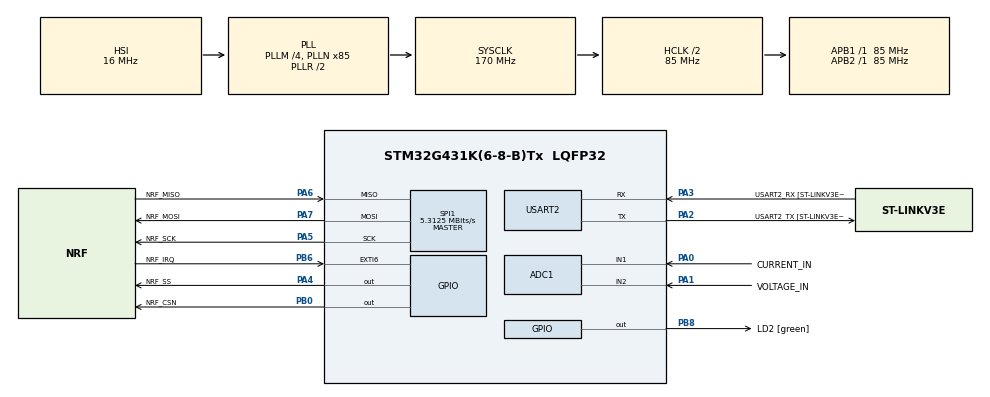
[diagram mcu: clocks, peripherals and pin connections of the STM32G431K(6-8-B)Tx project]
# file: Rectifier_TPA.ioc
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ADC1.Channel-1\#ChannelRegularConversion=ADC_CHANNEL_1
ADC1.Channel-3\#ChannelRegularConversion=ADC_CHANNEL_2
ADC1.ClockPrescaler=ADC_CLOCK_ASYNC_DIV16
ADC1.ContinuousConvMode=ENABLE
ADC1.DMAContinuousRequests=ENABLE
ADC1.NbrOfConversion=2
ADC1.NbrOfConversionFlag=1
ADC1.OffsetNumber-1\#ChannelRegularConversion=ADC_OFFSET_NONE
ADC1.OffsetNumber-3\#ChannelRegularConversion=ADC_OFFSET_NONE
ADC1.Overrun=ADC_OVR_DATA_PRESERVED
ADC1.Rank-1\#ChannelRegularConversion=1
ADC1.Rank-3\#ChannelRegularConversion=2
ADC1.SamplingTime-1\#ChannelRegularConversion=ADC_SAMPLETIME_47CYCLES_5
ADC1.SamplingTime-3\#ChannelRegularConversion=ADC_SAMPLETIME_47CYCLES_5
ADC1.master=1
Dma.ADC1.0.Direction=DMA_PERIPH_TO_MEMORY
Dma.ADC1.0.EventEnable=DISABLE
Dma.ADC1.0.Instance=DMA1_Channel1
Dma.ADC1.0.MemDataAlignment=DMA_MDATAALIGN_WORD
Dma.ADC1.0.MemInc=DMA_MINC_ENABLE
Dma.ADC1.0.Mode=DMA_CIRCULAR
Dma.ADC1.0.PeriphDataAlignment=DMA_PDATAALIGN_WORD
Dma.ADC1.0.PeriphInc=DMA_PINC_DISABLE
Dma.ADC1.0.Polarity=HAL_DMAMUX_REQ_GEN_RISING
Dma.ADC1.0.Priority=DMA_PRIORITY_LOW
Dma.ADC1.0.RequestNumber=1
Dma.ADC1.0.SignalID=NONE
Dma.ADC1.0.SyncEnable=DISABLE
Dma.ADC1.0.SyncPolarity=HAL_DMAMUX_SYNC_NO_EVENT
Dma.ADC1.0.SyncRequestNumber=1
Dma.ADC1.0.SyncSignalID=NONE
Dma.Request0=ADC1
LPTIM1.ClockPrescaler=LPTIM_PRESCALER_DIV128
Mcu.Family=STM32G4
Mcu.Name=STM32G431K(6-8-B)Tx
Mcu.Package=LQFP32
NVIC.ADC1_2_IRQn=true\:1\:0\:true\:false\:true\:true\:true\:true
NVIC.DMA1_Channel1_IRQn=true\:1\:0\:true\:false\:true\:false\:true\:true
NVIC.EXTI9_5_IRQn=true\:0\:0\:false\:false\:true\:true\:true\:true
NVIC.LPTIM1_IRQn=true\:1\:0\:true\:false\:true\:true\:true\:true
NVIC.PriorityGroup=NVIC_PRIORITYGROUP_4
PA0.GPIO_Label=CURRENT_IN
PA0.Mode=IN1-Single-Ended
PA0.Signal=ADC1_IN1
PA1.GPIO_Label=VOLTAGE_IN
PA1.Signal=SharedAnalog_PA1
PA13.GPIO_Label=T_SWDIO
PA13.Mode=Serial_Wire
PA13.Signal=SYS_JTMS-SWDIO
PA14.GPIO_Label=T_SWCLK
PA14.Mode=Serial_Wire
PA14.Signal=SYS_JTCK-SWCLK
PA2.GPIO_Label=USART2_TX [ST-LINKV3E_VCP_RX]
PA2.Mode=Asynchronous
PA2.Signal=USART2_TX
PA3.GPIO_Label=USART2_RX [ST-LINKV3E_VCP_TX]
PA3.Mode=Asynchronous
PA3.Signal=USART2_RX
PA4.GPIO_Label=NRF_SS
PA4.GPIO_PuPd=GPIO_NOPULL
PA4.Signal=GPIO_Output
PA5.GPIO_Label=NRF_SCK
PA5.Mode=Full_Duplex_Master
PA5.Signal=SPI1_SCK
PA6.GPIO_Label=NRF_MISO
PA6.Mode=Full_Duplex_Master
PA6.Signal=SPI1_MISO
PA7.GPIO_Label=NRF_MOSI
PA7.Mode=Full_Duplex_Master
PA7.Signal=SPI1_MOSI
PB0.GPIO_Label=NRF_CSN
PB0.GPIO_PuPd=GPIO_PULLUP
PB0.Signal=GPIO_Output
PB3.GPIO_Label=T_SWO
PB3.Signal=SYS_JTDO-SWO
PB6.GPIO_Label=NRF_IRQ
PB6.GPIO_ModeDefaultEXTI=GPIO_MODE_IT_FALLING
PB6.Signal=GPXTI6
PB8-BOOT0.GPIO_Label=LD2 [green]
PB8-BOOT0.Signal=GPIO_Output
PF0-OSC_IN.Mode=HSE-External-Oscillator
PF0-OSC_IN.Signal=RCC_OSC_IN
PF1-OSC_OUT.Mode=HSE-External-Oscillator
PF1-OSC_OUT.Signal=RCC_OSC_OUT
ProjectManager.HeapSize=0x200
ProjectManager.StackSize=0x400
ProjectManager.TargetToolchain=STM32CubeIDE
RCC.ADC12Freq_Value=170000000
RCC.AHBCLKDivider=RCC_SYSCLK_DIV2
RCC.AHBFreq_Value=85000000
RCC.APB1Freq_Value=85000000
RCC.APB1TimFreq_Value=85000000
RCC.APB2Freq_Value=85000000
RCC.APB2TimFreq_Value=85000000
RCC.CK48CLockSelection=RCC_USBCLKSOURCE_HSI48
RCC.CortexFreq_Value=85000000
RCC.EXTERNAL_CLOCK_VALUE=12288000
RCC.HCLKFreq_Value=85000000
RCC.HSE_VALUE=8000000
RCC.HSI48_VALUE=48000000
RCC.HSI_VALUE=16000000
RCC.LSE_VALUE=32768
RCC.PLLM=RCC_PLLM_DIV4
RCC.PLLN=85
RCC.SYSCLKFreq_VALUE=170000000
RCC.SYSCLKSource=RCC_SYSCLKSOURCE_PLLCLK
RCC.USBFreq_Value=48000000
RCC.VCOOutputFreq_Value=340000000
SH.SharedAnalog_PA1.0=ADC2_IN2
SH.SharedAnalog_PA1.1=ADC1_IN2,IN2-Single-Ended
SPI1.BaudRatePrescaler=SPI_BAUDRATEPRESCALER_16
SPI1.CalculateBaudRate=5.3125 MBits/s
SPI1.DataSize=SPI_DATASIZE_8BIT
SPI1.Direction=SPI_DIRECTION_2LINES
SPI1.FirstBit=SPI_FIRSTBIT_MSB
SPI1.Mode=SPI_MODE_MASTER
SPI1.NSSPMode=SPI_NSS_PULSE_DISABLE
SPI1.VirtualType=VM_MASTER
USART2.VirtualMode-Asynchronous=VM_ASYNC
USART2.WordLength=WORDLENGTH_8B
VP_LPTIM1_VS_LPTIM_counterModeInternalClock.Mode=Counts__internal_clock_event_00
VP_RNG_VS_RNG.Mode=RNG_Activate
VP_SYS_VS_DBSignals.Mode=DisableDeadBatterySignals
VP_TIM1_VS_ClockSourceITR.Mode=TriggerSource_ITR0
board=NUCLEO-G431KB

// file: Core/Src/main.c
/* USER CODE BEGIN Header */
/**
    ******************************************************************************
    * @file           : main.c
    * @brief          : Main program body
    ******************************************************************************
    * @attention
    *
    * Copyright (c) 2025 STMicroelectronics.
    * All rights reserved.
    *
    * This software is licensed under terms that can be found in the LICENSE file
    * in the root directory of this software component.
    * If no LICENSE file comes with this software, it is provided AS-IS.
    *
    ******************************************************************************
    */
/* USER CODE END Header */
#include "main.h"

/* USER CODE BEGIN Includes */
#include "Drivers/myNRF.h"
#include <string.h>
#include <stdio.h>
#include <stdbool.h>
/* USER CODE END Includes */

/* USER CODE BEGIN PTD */
typedef struct DATA
{
    uint32_t V_out_int;
    uint32_t I_out_int;
} data_t;

typedef struct MESSAGE {
	uint32_t id;
	data_t data;

} message_t;
/* USER CODE END PTD */

/* USER CODE BEGIN PD */
#define ADDR_WIDTH 5 // Размер адреcа принимающего канал приемопередатчика
/* USER CODE END PD */

ADC_HandleTypeDef hadc1;
DMA_HandleTypeDef hdma_adc1;

LPTIM_HandleTypeDef hlptim1;

RNG_HandleTypeDef hrng;

SPI_HandleTypeDef hspi1;

TIM_HandleTypeDef htim1;

UART_HandleTypeDef huart2;

/* USER CODE BEGIN PV */

// Переменные дл�? контрол�? конечного аппарата
data_t data = {
    .V_out_int = 0,
    .I_out_int = 0
};

volatile message_t message = {
	.id = 0,
	.data.V_out_int = 0,
	.data.I_out_int = 0
};

// Переменные дл�? коммуникации по SPI
const uint32_t CPOL = SPI_CR1_CPOL * 0;
const uint32_t CPHA = SPI_CR1_CPHA * 0;
uint8_t success_transmit;
const uint32_t pipe = 1024; //111156789; // адрес рабочей трубы;
/* USER CODE END PV */

void SystemClock_Config(void);
static void MX_GPIO_Init(void);
static void MX_DMA_Init(void);
static void MX_ADC1_Init(void);
static void MX_USART2_UART_Init(void);
static void MX_LPTIM1_Init(void);
static void MX_TIM1_Init(void);
static void MX_SPI1_Init(void);
static void MX_RNG_Init(void);
/* USER CODE BEGIN PFP */
const void NRF24_Init(void);
/* USER CODE END PFP */

/* USER CODE BEGIN 0 */
uint8_t writedata = 0xAA ;
void HAL_LPTIM_AutoReloadMatchCallback(LPTIM_HandleTypeDef *hlptim)
{
	message.data.I_out_int = data.I_out_int;
	message.data.V_out_int = data.V_out_int;
	//printf("I int: %li\n", message.data.I_out_int);
	//printf("V int: %li\n", message.data.V_out_int);
	//HAL_Delay(500);
	NRF24_write(&writedata,1);
	//printStatusReg();
	//bool status = NRF24_write((uint8_t *)&0xAA, 1);
	//printf("Status: %i \n", status);

}

const void NRF24_Init()
{
	NRF24_begin(hspi1);
	nrf24_DebugUART_Init(huart2);
	NRF24_setDataRate(RF24_250KBPS);
	NRF24_setCRCLength(RF24_CRC_8);
	NRF24_setPALevel(RF24_PA_0dB);
	NRF24_setChannel(0x6f);
	NRF24_setPayloadSize(1);
	NRF24_disableDynamicPayloads();
	NRF24_setAutoAck(0);
	NRF24_powerUp();
	NRF24_stopListening();
	NRF24_openWritingPipe(pipe);
	  printRadioSettings();
	  printStatusReg();
	  printConfigReg();
	  printFIFOstatus();

}

int __io_putchar(int ch){
	HAL_UART_Transmit(&huart2, (uint8_t*)&ch, 1, 0xFFFF);
}
/* USER CODE END 0 */

int main(void)
{

  /* MCU Configuration--------------------------------------------------------*/

  /* Reset of all peripherals, Initializes the Flash interface and the Systick. */
  HAL_Init();

  /* Configure the system clock */
  SystemClock_Config();

  /* Initialize all configured peripherals */
  MX_GPIO_Init();
  MX_DMA_Init();
  MX_ADC1_Init();
  MX_USART2_UART_Init();
  MX_LPTIM1_Init();
  MX_TIM1_Init();
  MX_SPI1_Init();
  MX_RNG_Init();
  /* USER CODE BEGIN 2 */
    HAL_ADCEx_Calibration_Start(&hadc1, ADC_SINGLE_ENDED);
    //GPIO_Init();
//    csn_high();
//	ce_low();
    HAL_Delay(5);
    printf("Init NRF...\n\r");
  NRF24_Init();
  HAL_Delay(5000);

	// Один раз при инициализации присваиваем сообщениям случайный id
	HAL_StatusTypeDef initId = HAL_RNG_GenerateRandomNumber(&hrng, &message.id);

	  if (initId == HAL_OK)
	  {
	    printf("Init complete! My Id: %li\n\r", message.id);

	  }else {
		  Error_Handler();
	  }
  /* USER CODE END 2 */

  /* Infinite loop */
  /* USER CODE BEGIN WHILE */
	HAL_LPTIM_Counter_Start_IT(&hlptim1, 0xFFFF);
    HAL_ADC_Start_DMA(&hadc1, (uint32_t*)&data, 2);
    while (1)
    {

    /* USER CODE END WHILE */

    }
}

void SystemClock_Config(void)
{
  RCC_OscInitTypeDef RCC_OscInitStruct = {0};
  RCC_ClkInitTypeDef RCC_ClkInitStruct = {0};

  /** Configure the main internal regulator output voltage
  */
  HAL_PWREx_ControlVoltageScaling(PWR_REGULATOR_VOLTAGE_SCALE1);

  /** Initializes the RCC Oscillators according to the specified parameters
  * in the RCC_OscInitTypeDef structure.
  */
  RCC_OscInitStruct.OscillatorType = RCC_OSCILLATORTYPE_HSI|RCC_OSCILLATORTYPE_HSI48;
  RCC_OscInitStruct.HSIState = RCC_HSI_ON;
  RCC_OscInitStruct.HSICalibrationValue = RCC_HSICALIBRATION_DEFAULT;
  RCC_OscInitStruct.HSI48State = RCC_HSI48_ON;
  RCC_OscInitStruct.PLL.PLLState = RCC_PLL_ON;
  RCC_OscInitStruct.PLL.PLLSource = RCC_PLLSOURCE_HSI;
  RCC_OscInitStruct.PLL.PLLM = RCC_PLLM_DIV4;
  RCC_OscInitStruct.PLL.PLLN = 85;
  RCC_OscInitStruct.PLL.PLLP = RCC_PLLP_DIV2;
  RCC_OscInitStruct.PLL.PLLQ = RCC_PLLQ_DIV2;
  RCC_OscInitStruct.PLL.PLLR = RCC_PLLR_DIV2;
  if (HAL_RCC_OscConfig(&RCC_OscInitStruct) != HAL_OK)
  {
    Error_Handler();
  }

  /** Initializes the CPU, AHB and APB buses clocks
  */
  RCC_ClkInitStruct.ClockType = RCC_CLOCKTYPE_HCLK|RCC_CLOCKTYPE_SYSCLK
                              |RCC_CLOCKTYPE_PCLK1|RCC_CLOCKTYPE_PCLK2;
  RCC_ClkInitStruct.SYSCLKSource = RCC_SYSCLKSOURCE_PLLCLK;
  RCC_ClkInitStruct.AHBCLKDivider = RCC_SYSCLK_DIV2;
  RCC_ClkInitStruct.APB1CLKDivider = RCC_HCLK_DIV1;
  RCC_ClkInitStruct.APB2CLKDivider = RCC_HCLK_DIV1;

  if (HAL_RCC_ClockConfig(&RCC_ClkInitStruct, FLASH_LATENCY_2) != HAL_OK)
  {
    Error_Handler();
  }
}

static void MX_ADC1_Init(void)
{

  ADC_MultiModeTypeDef multimode = {0};
  ADC_ChannelConfTypeDef sConfig = {0};

  /** Common config
  */
  hadc1.Instance = ADC1;
  hadc1.Init.ClockPrescaler = ADC_CLOCK_ASYNC_DIV16;
  hadc1.Init.Resolution = ADC_RESOLUTION_12B;
  hadc1.Init.DataAlign = ADC_DATAALIGN_RIGHT;
  hadc1.Init.GainCompensation = 0;
  hadc1.Init.ScanConvMode = ADC_SCAN_ENABLE;
  hadc1.Init.EOCSelection = ADC_EOC_SINGLE_CONV;
  hadc1.Init.LowPowerAutoWait = DISABLE;
  hadc1.Init.ContinuousConvMode = ENABLE;
  hadc1.Init.NbrOfConversion = 2;
  hadc1.Init.DiscontinuousConvMode = DISABLE;
  hadc1.Init.ExternalTrigConv = ADC_SOFTWARE_START;
  hadc1.Init.ExternalTrigConvEdge = ADC_EXTERNALTRIGCONVEDGE_NONE;
  hadc1.Init.DMAContinuousRequests = ENABLE;
  hadc1.Init.Overrun = ADC_OVR_DATA_PRESERVED;
  hadc1.Init.OversamplingMode = DISABLE;
  if (HAL_ADC_Init(&hadc1) != HAL_OK)
  {
    Error_Handler();
  }

  /** Configure the ADC multi-mode
  */
  multimode.Mode = ADC_MODE_INDEPENDENT;
  if (HAL_ADCEx_MultiModeConfigChannel(&hadc1, &multimode) != HAL_OK)
  {
    Error_Handler();
  }

  /** Configure Regular Channel
  */
  sConfig.Channel = ADC_CHANNEL_1;
  sConfig.Rank = ADC_REGULAR_RANK_1;
  sConfig.SamplingTime = ADC_SAMPLETIME_47CYCLES_5;
  sConfig.SingleDiff = ADC_SINGLE_ENDED;
  sConfig.OffsetNumber = ADC_OFFSET_NONE;
  sConfig.Offset = 0;
  if (HAL_ADC_ConfigChannel(&hadc1, &sConfig) != HAL_OK)
  {
    Error_Handler();
  }

  /** Configure Regular Channel
  */
  sConfig.Channel = ADC_CHANNEL_2;
  sConfig.Rank = ADC_REGULAR_RANK_2;
  if (HAL_ADC_ConfigChannel(&hadc1, &sConfig) != HAL_OK)
  {
    Error_Handler();
  }

}

static void MX_LPTIM1_Init(void)
{

  hlptim1.Instance = LPTIM1;
  hlptim1.Init.Clock.Source = LPTIM_CLOCKSOURCE_APBCLOCK_LPOSC;
  hlptim1.Init.Clock.Prescaler = LPTIM_PRESCALER_DIV128;
  hlptim1.Init.Trigger.Source = LPTIM_TRIGSOURCE_SOFTWARE;
  hlptim1.Init.OutputPolarity = LPTIM_OUTPUTPOLARITY_HIGH;
  hlptim1.Init.UpdateMode = LPTIM_UPDATE_IMMEDIATE;
  hlptim1.Init.CounterSource = LPTIM_COUNTERSOURCE_INTERNAL;
  hlptim1.Init.Input1Source = LPTIM_INPUT1SOURCE_GPIO;
  hlptim1.Init.Input2Source = LPTIM_INPUT2SOURCE_GPIO;
  if (HAL_LPTIM_Init(&hlptim1) != HAL_OK)
  {
    Error_Handler();
  }

}

static void MX_RNG_Init(void)
{

  hrng.Instance = RNG;
  hrng.Init.ClockErrorDetection = RNG_CED_ENABLE;
  if (HAL_RNG_Init(&hrng) != HAL_OK)
  {
    Error_Handler();
  }

}

static void MX_SPI1_Init(void)
{

  /* SPI1 parameter configuration*/
  hspi1.Instance = SPI1;
  hspi1.Init.Mode = SPI_MODE_MASTER;
  hspi1.Init.Direction = SPI_DIRECTION_2LINES;
  hspi1.Init.DataSize = SPI_DATASIZE_8BIT;
  hspi1.Init.CLKPolarity = SPI_POLARITY_LOW;
  hspi1.Init.CLKPhase = SPI_PHASE_1EDGE;
  hspi1.Init.NSS = SPI_NSS_SOFT;
  hspi1.Init.BaudRatePrescaler = SPI_BAUDRATEPRESCALER_16;
  hspi1.Init.FirstBit = SPI_FIRSTBIT_MSB;
  hspi1.Init.TIMode = SPI_TIMODE_DISABLE;
  hspi1.Init.CRCCalculation = SPI_CRCCALCULATION_DISABLE;
  hspi1.Init.CRCPolynomial = 7;
  hspi1.Init.CRCLength = SPI_CRC_LENGTH_DATASIZE;
  hspi1.Init.NSSPMode = SPI_NSS_PULSE_DISABLE;
  if (HAL_SPI_Init(&hspi1) != HAL_OK)
  {
    Error_Handler();
  }
  /* USER CODE BEGIN SPI1_Init 2 */
  __HAL_SPI_ENABLE(&hspi1);
  /* USER CODE END SPI1_Init 2 */

}

static void MX_TIM1_Init(void)
{

  TIM_SlaveConfigTypeDef sSlaveConfig = {0};
  TIM_MasterConfigTypeDef sMasterConfig = {0};

  htim1.Instance = TIM1;
  htim1.Init.Prescaler = 0;
  htim1.Init.CounterMode = TIM_COUNTERMODE_UP;
  htim1.Init.Period = 65535;
  htim1.Init.ClockDivision = TIM_CLOCKDIVISION_DIV1;
  htim1.Init.RepetitionCounter = 0;
  htim1.Init.AutoReloadPreload = TIM_AUTORELOAD_PRELOAD_DISABLE;
  if (HAL_TIM_Base_Init(&htim1) != HAL_OK)
  {
    Error_Handler();
  }
  sSlaveConfig.SlaveMode = TIM_SLAVEMODE_DISABLE;
  sSlaveConfig.InputTrigger = TIM_TS_ITR0;
  if (HAL_TIM_SlaveConfigSynchro(&htim1, &sSlaveConfig) != HAL_OK)
  {
    Error_Handler();
  }
  sMasterConfig.MasterOutputTrigger = TIM_TRGO_RESET;
  sMasterConfig.MasterOutputTrigger2 = TIM_TRGO2_RESET;
  sMasterConfig.MasterSlaveMode = TIM_MASTERSLAVEMODE_DISABLE;
  if (HAL_TIMEx_MasterConfigSynchronization(&htim1, &sMasterConfig) != HAL_OK)
  {
    Error_Handler();
  }

}

static void MX_USART2_UART_Init(void)
{

  huart2.Instance = USART2;
  huart2.Init.BaudRate = 115200;
  huart2.Init.WordLength = UART_WORDLENGTH_8B;
  huart2.Init.StopBits = UART_STOPBITS_1;
  huart2.Init.Parity = UART_PARITY_NONE;
  huart2.Init.Mode = UART_MODE_TX_RX;
  huart2.Init.HwFlowCtl = UART_HWCONTROL_NONE;
  huart2.Init.OverSampling = UART_OVERSAMPLING_16;
  huart2.Init.OneBitSampling = UART_ONE_BIT_SAMPLE_DISABLE;
  huart2.Init.ClockPrescaler = UART_PRESCALER_DIV1;
  huart2.AdvancedInit.AdvFeatureInit = UART_ADVFEATURE_NO_INIT;
  if (HAL_UART_Init(&huart2) != HAL_OK)
  {
    Error_Handler();
  }
  if (HAL_UARTEx_SetTxFifoThreshold(&huart2, UART_TXFIFO_THRESHOLD_1_8) != HAL_OK)
  {
    Error_Handler();
  }
  if (HAL_UARTEx_SetRxFifoThreshold(&huart2, UART_RXFIFO_THRESHOLD_1_8) != HAL_OK)
  {
    Error_Handler();
  }
  if (HAL_UARTEx_DisableFifoMode(&huart2) != HAL_OK)
  {
    Error_Handler();
  }

}

static void MX_DMA_Init(void)
{

  /* DMA controller clock enable */
  __HAL_RCC_DMAMUX1_CLK_ENABLE();
  __HAL_RCC_DMA1_CLK_ENABLE();

  /* DMA interrupt init */
  /* DMA1_Channel1_IRQn interrupt configuration */
  HAL_NVIC_SetPriority(DMA1_Channel1_IRQn, 1, 0);
  HAL_NVIC_EnableIRQ(DMA1_Channel1_IRQn);

}

static void MX_GPIO_Init(void)
{
  GPIO_InitTypeDef GPIO_InitStruct = {0};

  /* GPIO Ports Clock Enable */
  __HAL_RCC_GPIOF_CLK_ENABLE();
  __HAL_RCC_GPIOA_CLK_ENABLE();
  __HAL_RCC_GPIOB_CLK_ENABLE();

  /*Configure GPIO pin Output Level */
  HAL_GPIO_WritePin(NRF_SS_GPIO_Port, NRF_SS_Pin, GPIO_PIN_RESET);

  /*Configure GPIO pin Output Level */
  HAL_GPIO_WritePin(GPIOB, NRF_CSN_Pin|LD2_Pin, GPIO_PIN_RESET);

  /*Configure GPIO pin : VOLTAGE_IN_Pin */
  GPIO_InitStruct.Pin = VOLTAGE_IN_Pin;
  GPIO_InitStruct.Mode = GPIO_MODE_ANALOG;
  GPIO_InitStruct.Pull = GPIO_NOPULL;
  HAL_GPIO_Init(VOLTAGE_IN_GPIO_Port, &GPIO_InitStruct);

  /*Configure GPIO pin : NRF_SS_Pin */
  GPIO_InitStruct.Pin = NRF_SS_Pin;
  GPIO_InitStruct.Mode = GPIO_MODE_OUTPUT_PP;
  GPIO_InitStruct.Pull = GPIO_NOPULL;
  GPIO_InitStruct.Speed = GPIO_SPEED_FREQ_LOW;
  HAL_GPIO_Init(NRF_SS_GPIO_Port, &GPIO_InitStruct);

  /*Configure GPIO pin : NRF_CSN_Pin */
  GPIO_InitStruct.Pin = NRF_CSN_Pin;
  GPIO_InitStruct.Mode = GPIO_MODE_OUTPUT_PP;
  GPIO_InitStruct.Pull = GPIO_PULLUP;
  GPIO_InitStruct.Speed = GPIO_SPEED_FREQ_LOW;
  HAL_GPIO_Init(NRF_CSN_GPIO_Port, &GPIO_InitStruct);

  /*Configure GPIO pin : NRF_IRQ_Pin */
  GPIO_InitStruct.Pin = NRF_IRQ_Pin;
  GPIO_InitStruct.Mode = GPIO_MODE_IT_FALLING;
  GPIO_InitStruct.Pull = GPIO_NOPULL;
  HAL_GPIO_Init(NRF_IRQ_GPIO_Port, &GPIO_InitStruct);

  /*Configure GPIO pin : LD2_Pin */
  GPIO_InitStruct.Pin = LD2_Pin;
  GPIO_InitStruct.Mode = GPIO_MODE_OUTPUT_PP;
  GPIO_InitStruct.Pull = GPIO_NOPULL;
  GPIO_InitStruct.Speed = GPIO_SPEED_FREQ_LOW;
  HAL_GPIO_Init(LD2_GPIO_Port, &GPIO_InitStruct);

  /* EXTI interrupt init*/
  HAL_NVIC_SetPriority(EXTI9_5_IRQn, 0, 0);
  HAL_NVIC_EnableIRQ(EXTI9_5_IRQn);

}

void Error_Handler(void)
{
  /* USER CODE BEGIN Error_Handler_Debug */
    /* User can add his own implementation to report the HAL error return state */
    __disable_irq();
    while (1)
    {
    	printf("Error in init code");
    }
  /* USER CODE END Error_Handler_Debug */
}
